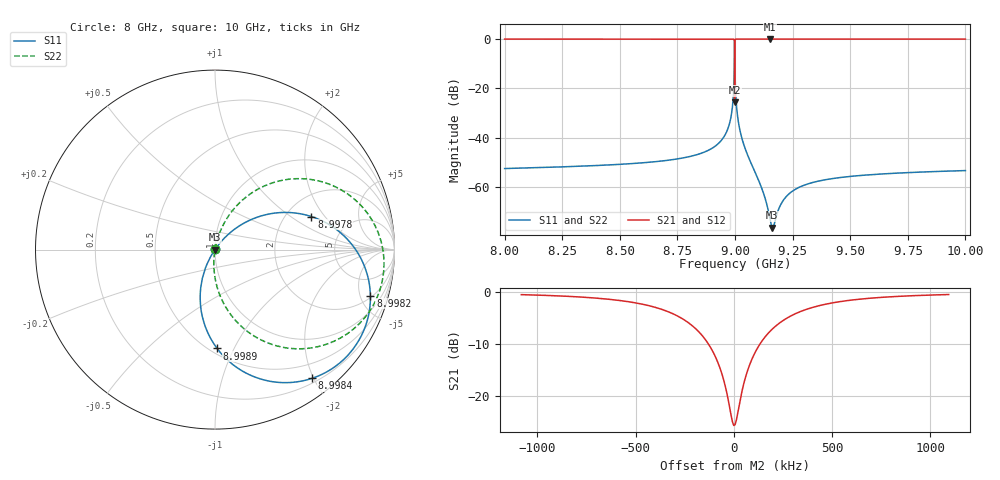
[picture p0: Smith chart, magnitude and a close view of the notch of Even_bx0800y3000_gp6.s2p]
! Sonnet Data File
! From: emgraph Version : 16.52
! From Emgraph Data: Resonator3
! Data File Written: 10/04/2017 12:04:41
!< HDATE 10/04/2017 11:35:44
!< MDATE 10/04/2017 11:35:44
# GHZ S MA R 51.80000
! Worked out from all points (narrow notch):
!   798 points, 8 GHz to 10 GHz, reference 51.8 ohm
!   highest |S21| = 0.00 dB at 9.15 GHz (marker M1); lowest = -25.7 dB at 8.9983 GHz (marker M2)
!   notch at M2: 25.7 dB deep, 183 kHz wide at half that depth
!   lowest |S11| = -76.4 dB at 9.1616 GHz (marker M3), VSWR 1.00, Z = 51.8 + j0.00689 ohm
!   |S11| at or under -10 dB: start of sweep to 8.9972 GHz; 8.9994 GHz to end of sweep
!   |S22| runs from -76.5 to -0.5 dB; largest |S21 - S12| = 0
!   S11 on the Smith chart (normalised r, x): 8 GHz: 1.00, +0.00; 8.9978 GHz: 2.73, +1.48; 8.9982 GHz: 2.20, -6.12; 8.9984 GHz: 0.27, -1.98; 8.9989 GHz: 0.54, -0.86; 10 GHz: 1.00, +0.00
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8  0.002382 62.1  1 -19.6  1 -19.6  0.002382 78.6
!< P1 F=8.0 Eeff=(6.45042311 -2.975e-5) Z0=(51.8073749 1.19483e-4) R=0.0 C=0.0
!< P2 F=8.0 Eeff=(6.4504231 -2.975e-5) Z0=(51.8073748 1.19483e-4) R=0.0 C=0.0
8.34  0.00267 60.8  1 -20.5  1 -20.5  0.00267 78.4
8.67  0.003339 59.1  1 -21.3  1 -21.3  0.00334 78.3
8.857921  0.004941 57.6  1 -21.9  1 -21.9  0.004942 78.7
8.949026  0.009978 56.1  0.9999 -22.4  0.9999 -22.4  0.009979 79.1
8.987085  0.03615 53.8  0.9993 -24.0  0.9993 -24.0  0.03615 78.1
8.994537  0.1025 49.6  0.9942 -27.8  0.9942 -27.8  0.1025 74.2
8.996832  0.2503 40.4  0.9647 -36.4  0.9647 -36.4  0.2503 65.1
8.997773  0.5675 19.0  0.8019 -56.5  0.8019 -56.5  0.5675 43.7
8.998183  0.903 -16.5  0.3095 -85.0  0.3095 -85.0  0.903 8.2
8.99831  0.9483 -34.0  0.05199 -28.0  0.05199 -28.0  0.9483 -9.2
8.998447  0.8984 -53.0  0.3235 40.7  0.3235 40.7  0.8984 -28.2
8.998872  0.551 -88.8  0.8143 11.5  0.8143 11.5  0.551 -64.0
9  0.2174 -111.1  0.9734 -9.4  0.9734 -9.4  0.2174 -86.3
9.007474  0.03926 -122.2  0.9991 -19.7  0.9991 -19.7  0.03926 -97.0
9.024843  0.01208 -124.4  0.9999 -21.3  0.9999 -21.3  0.01208 -98.2
9.15  0.0002529 -161.0  1 -22.3  1 -22.3  0.000252 -63.8
9.161581  0.0001511 153.9  1 -22.3  1 -22.3  0.0001501 -18.5
9.23  0.0007007 67.3  1 -22.5  1 -22.5  0.0007008 67.7
9.34  0.001253 61.4  1 -22.8  1 -22.8  0.001253 72.9
9.67  0.001888 58.0  1 -23.7  1 -23.7  0.001888 74.6
10  0.002166 56.5  1 -24.5  1 -24.5  0.002167 74.6
